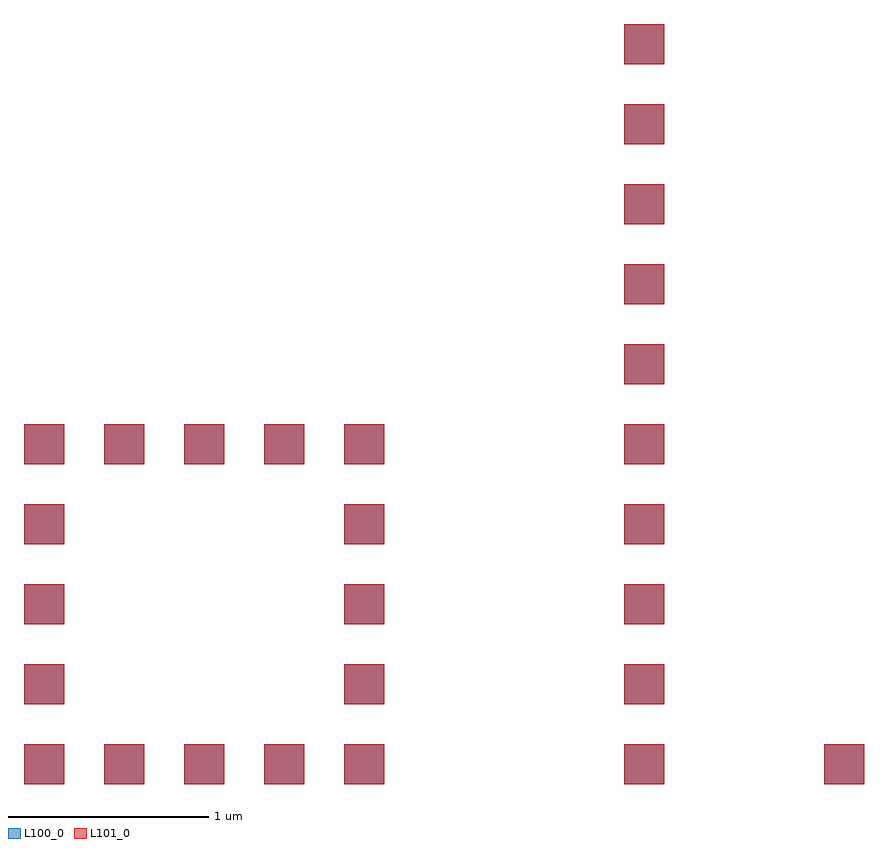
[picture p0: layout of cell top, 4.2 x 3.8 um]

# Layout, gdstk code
import gdstk
lib = gdstk.Library(unit=1e-6, precision=1e-09)
def R(c, l, rs):  # rectangles x0, y0, x1, y1
    for r in rs: c.add(gdstk.rectangle(r[:2], r[2:], *l))
def A(c, l, x, y, w, h, nx, ny, dx, dy):  # array of equal rectangles
    R(c, l, [(x+i*dx, y+j*dy, x+i*dx+w, y+j*dy+h) for i in range(nx) for j in range(ny)])
L100_0 = (100, 0)
L101_0 = (101, 0)

top = lib.new_cell('top')
A(top, L100_0, 0.1, 0.1, 0.2, 0.2, 5, 2, 0.4, 1.6)
A(top, L100_0, 3.1, 0.1, 0.2, 0.2, 1, 10, 0, 0.4)
A(top, L100_0, 0.1, 0.5, 0.2, 0.2, 1, 3, 0, 0.4)
A(top, L100_0, 1.7, 0.5, 0.2, 0.2, 1, 3, 0, 0.4)
R(top, L100_0, [(4.1,0.1,4.3,0.3)])
A(top, L101_0, 0.1, 0.1, 0.2, 0.2, 5, 2, 0.4, 1.6)
A(top, L101_0, 3.1, 0.1, 0.2, 0.2, 1, 10, 0, 0.4)
A(top, L101_0, 0.1, 0.5, 0.2, 0.2, 1, 3, 0, 0.4)
A(top, L101_0, 1.7, 0.5, 0.2, 0.2, 1, 3, 0, 0.4)
R(top, L101_0, [(4.1,0.1,4.3,0.3)])

lib.write_gds('top.gds')
